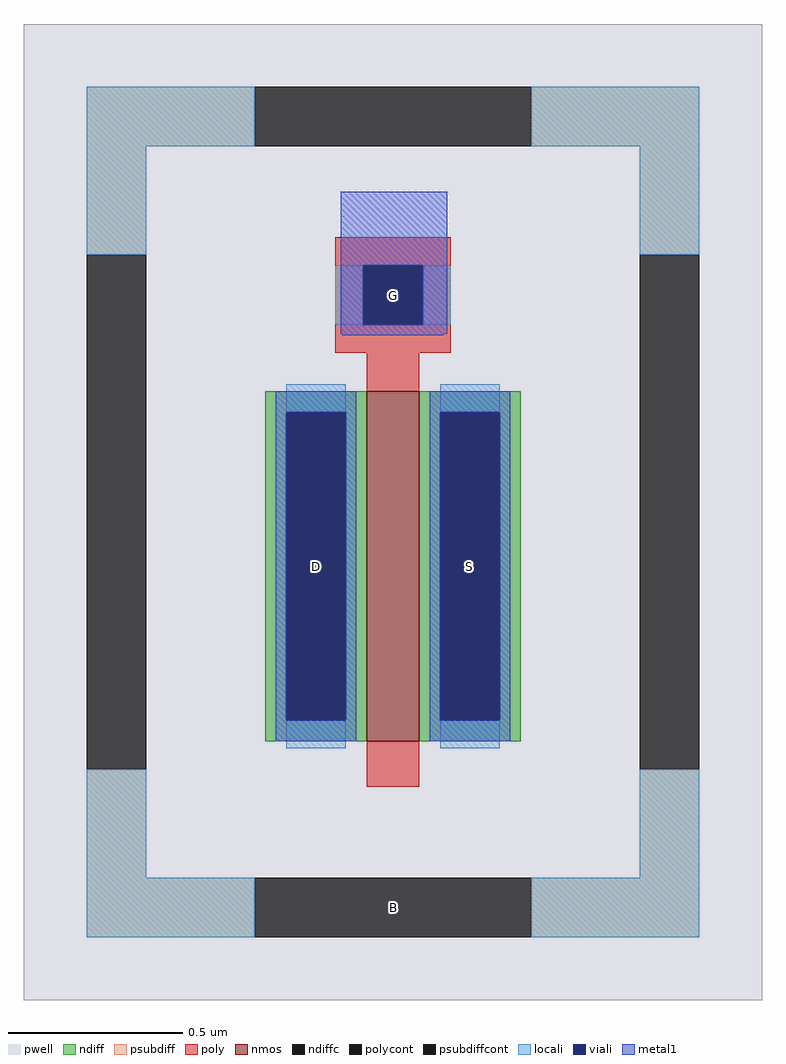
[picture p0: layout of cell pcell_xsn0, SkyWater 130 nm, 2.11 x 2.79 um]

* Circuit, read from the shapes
.subckt pcell_xsn0 B D S G
XM1 S G D B sky130_fd_pr__nfet_01v8 w=1 l=0.15
.ends

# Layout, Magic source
magic
tech sky130A
magscale 1 2
<< pwell >>
rect -211 -279 211 279
<< nmos >>
rect -15 -131 15 69
<< ndiff >>
rect -73 57 -15 69
rect -73 -119 -61 57
rect -27 -119 -15 57
rect -73 -131 -15 -119
rect 15 57 73 69
rect 15 -119 27 57
rect 61 -119 73 57
rect 15 -131 73 -119
<< ndiffc >>
rect -61 -119 -27 57
rect 27 -119 61 57
<< psubdiff >>
rect -175 209 -79 243
rect 79 209 175 243
rect -175 147 -141 209
rect 141 147 175 209
rect -175 -209 -141 -147
rect 141 -209 175 -147
rect -175 -243 -79 -209
rect 79 -243 175 -209
<< psubdiffcont >>
rect -79 209 79 243
rect -175 -147 -141 147
rect 141 -147 175 147
rect -79 -243 79 -209
<< poly >>
rect -33 141 33 157
rect -33 107 -17 141
rect 17 107 33 141
rect -33 91 33 107
rect -15 69 15 91
rect -15 -157 15 -131
<< polycont >>
rect -17 107 17 141
<< locali >>
rect -175 209 -79 243
rect 79 209 175 243
rect -175 147 -141 209
rect 141 147 175 209
rect -33 107 -17 141
rect 17 107 33 141
rect -61 57 -27 73
rect -61 -135 -27 -119
rect 27 57 61 73
rect 27 -135 61 -119
rect -175 -209 -141 -147
rect 141 -209 175 -147
rect -175 -243 -79 -209
rect 79 -243 175 -209
<< viali >>
rect -17 107 17 141
rect -61 -119 -27 57
rect 27 -119 61 57
<< metal1 >>
rect -30 141 31 183
rect -30 107 -17 141
rect 17 107 31 141
rect -30 102 31 107
rect -29 101 29 102
rect -67 57 -21 69
rect -67 -119 -61 57
rect -27 -119 -21 57
rect -67 -131 -21 -119
rect 21 57 67 69
rect 21 -119 27 57
rect 61 -119 67 57
rect 21 -131 67 -119
<< labels >>
rlabel psubdiffcont 0 -226 0 -226 0 B
port 1 nsew
rlabel ndiffc -44 -31 -44 -31 0 D
port 2 nsew
rlabel ndiffc 44 -31 44 -31 0 S
port 3 nsew
rlabel polycont 0 124 0 124 0 G
port 4 nsew
<< end >>
